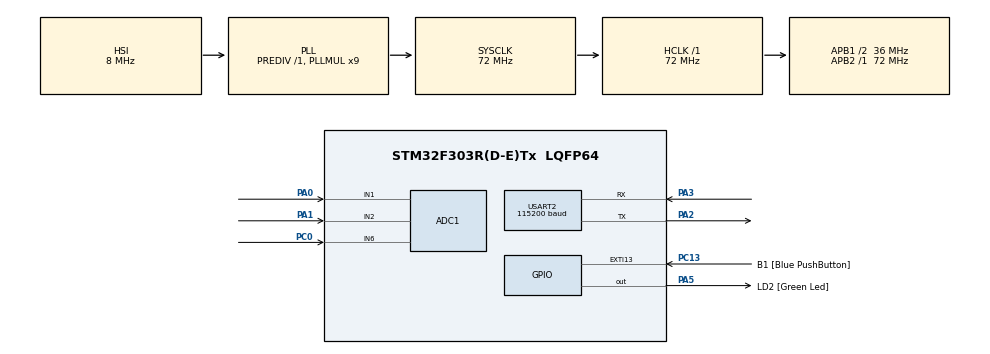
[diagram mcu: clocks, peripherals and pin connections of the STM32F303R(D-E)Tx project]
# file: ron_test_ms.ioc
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ADC1.Channel-0\#ChannelRegularConversion=ADC_CHANNEL_1
ADC1.Channel-1\#ChannelRegularConversion=ADC_CHANNEL_2
ADC1.Channel-3\#ChannelRegularConversion=ADC_CHANNEL_6
ADC1.ClockPrescaler=ADC_CLOCK_SYNC_PCLK_DIV4
ADC1.ContinuousConvMode=ENABLE
ADC1.DMAContinuousRequests=ENABLE
ADC1.NbrOfConversion=3
ADC1.NbrOfConversionFlag=1
ADC1.Offset-0\#ChannelRegularConversion=0
ADC1.Offset-1\#ChannelRegularConversion=0
ADC1.Offset-3\#ChannelRegularConversion=0
ADC1.OffsetNumber-0\#ChannelRegularConversion=ADC_OFFSET_NONE
ADC1.OffsetNumber-1\#ChannelRegularConversion=ADC_OFFSET_NONE
ADC1.OffsetNumber-3\#ChannelRegularConversion=ADC_OFFSET_NONE
ADC1.Rank-0\#ChannelRegularConversion=1
ADC1.Rank-1\#ChannelRegularConversion=2
ADC1.Rank-3\#ChannelRegularConversion=3
ADC1.SamplingTime-0\#ChannelRegularConversion=ADC_SAMPLETIME_7CYCLES_5
ADC1.SamplingTime-1\#ChannelRegularConversion=ADC_SAMPLETIME_7CYCLES_5
ADC1.SamplingTime-3\#ChannelRegularConversion=ADC_SAMPLETIME_7CYCLES_5
ADC1.SamplingTimeOPAMP-3\#ChannelRegularConversion=ADC_SAMPLETIME_61CYCLES_5
ADC1.master=1
Dma.ADC1.0.Direction=DMA_PERIPH_TO_MEMORY
Dma.ADC1.0.Instance=DMA1_Channel1
Dma.ADC1.0.MemDataAlignment=DMA_MDATAALIGN_WORD
Dma.ADC1.0.MemInc=DMA_MINC_ENABLE
Dma.ADC1.0.Mode=DMA_CIRCULAR
Dma.ADC1.0.PeriphDataAlignment=DMA_PDATAALIGN_WORD
Dma.ADC1.0.PeriphInc=DMA_PINC_DISABLE
Dma.ADC1.0.Priority=DMA_PRIORITY_LOW
Dma.Request0=ADC1
Mcu.Family=STM32F3
Mcu.Name=STM32F303R(D-E)Tx
Mcu.Package=LQFP64
NVIC.ADC1_2_IRQn=true\:0\:0\:false\:false\:true\:true\:true\:true
NVIC.DMA1_Channel1_IRQn=true\:0\:0\:false\:false\:true\:false\:true\:true
NVIC.EXTI15_10_IRQn=true\:0\:0\:false\:false\:true\:true\:true\:true
NVIC.PriorityGroup=NVIC_PRIORITYGROUP_0
NVIC.TIM6_DAC_IRQn=true\:0\:0\:false\:false\:true\:true\:true\:true
PA0.Mode=IN1-Single-Ended
PA0.Signal=ADC1_IN1
PA1.Mode=IN2-Single-Ended
PA1.Signal=ADC1_IN2
PA13.GPIO_Label=TMS
PA13.Mode=Serial_Wire
PA13.Signal=SYS_JTMS-SWDIO
PA14.GPIO_Label=TCK
PA14.Mode=Serial_Wire
PA14.Signal=SYS_JTCK-SWCLK
PA2.Mode=Asynchronous
PA2.Signal=USART2_TX
PA3.Mode=Asynchronous
PA3.Signal=USART2_RX
PA5.GPIO_Label=LD2 [Green Led]
PA5.GPIO_Mode=GPIO_MODE_OUTPUT_PP
PA5.GPIO_PuPd=GPIO_NOPULL
PA5.GPIO_Speed=GPIO_SPEED_FREQ_LOW
PA5.Signal=GPIO_Output
PB3.GPIO_Label=SWO
PB3.Signal=SYS_JTDO-TRACESWO
PC0.Signal=ADCx_IN6
PC13.GPIO_Label=B1 [Blue PushButton]
PC13.GPIO_ModeDefaultEXTI=GPIO_MODE_IT_FALLING
PC13.Signal=GPXTI13
PC14-OSC32_IN.Mode=LSE-External-Oscillator
PC14-OSC32_IN.Signal=RCC_OSC32_IN
PC15-OSC32_OUT.Mode=LSE-External-Oscillator
PC15-OSC32_OUT.Signal=RCC_OSC32_OUT
PF0-OSC_IN.Mode=HSE-External-Clock-Source
PF0-OSC_IN.Signal=RCC_OSC_IN
PF1-OSC_OUT.Signal=RCC_OSC_OUT
ProjectManager.HeapSize=0x200
ProjectManager.StackSize=0x400
ProjectManager.TargetToolchain=STM32CubeIDE
RCC.AHBFreq_Value=72000000
RCC.APB1CLKDivider=RCC_HCLK_DIV2
RCC.APB1Freq_Value=36000000
RCC.APB1TimFreq_Value=72000000
RCC.APB2Freq_Value=72000000
RCC.APB2TimFreq_Value=72000000
RCC.CortexFreq_Value=72000000
RCC.HCLKFreq_Value=72000000
RCC.HSE_VALUE=8000000
RCC.HSI_VALUE=8000000
RCC.PLLM=8
RCC.PLLMUL=RCC_PLL_MUL9
RCC.PLLN=336
RCC.PLLP=RCC_PLLP_DIV4
RCC.PLLQ=7
RCC.RCC_PLLsource_Clock_Source_FROM_HSE=RCC_HSE_PREDIV_DIV2
RCC.SYSCLKFreq_VALUE=72000000
RCC.SYSCLKSourceVirtual=RCC_SYSCLKSOURCE_PLLCLK
RCC.USBFreq_Value=72000000
SH.ADCx_IN6.0=ADC1_IN6,IN6-Single-Ended
TIM6.Period=99
TIM6.Prescaler=35999
USART2.BaudRate=115200
USART2.VirtualMode-Asynchronous=VM_ASYNC
VP_TIM6_VS_ClockSourceINT.Mode=Enable_Timer
board=NUCLEO-F303RE

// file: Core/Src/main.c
/* USER CODE BEGIN Header */
/**
  ******************************************************************************
  * @file           : main.c
  * @brief          : Ron Neter Programming Task - ADC + DMA Solution
  ******************************************************************************
  * @attention
  *
  * Copyright (c) 2025 STMicroelectronics.
  * All rights reserved.
  *
  * This software is licensed under terms that can be found in the LICENSE file
  * in the root directory of this software component.
  * If no LICENSE file comes with this software, it is provided AS-IS.
  *
  ******************************************************************************
  */
/* USER CODE END Header */
#include "main.h"
#include <stdio.h>
#include <string.h>

ADC_HandleTypeDef hadc1;
DMA_HandleTypeDef hdma_adc1;

TIM_HandleTypeDef htim6;

UART_HandleTypeDef huart2;

/* USER CODE BEGIN PV */
// ADC buffer to store values from 3 channels
#define ADC_CHANNEL_COUNT 3
#define ADC_BUFFER_SIZE (ADC_CHANNEL_COUNT)
volatile uint32_t adc_buffer[ADC_BUFFER_SIZE];

// System variables
volatile uint32_t system_timestamp = 0;
volatile uint8_t send_data_flag = 0;
volatile uint8_t button_pressed = 0;
char uart_tx_buffer[100];
/* USER CODE END PV */

void SystemClock_Config(void);
static void MX_GPIO_Init(void);
static void MX_DMA_Init(void);
static void MX_ADC1_Init(void);
static void MX_TIM6_Init(void);
static void MX_USART2_UART_Init(void);
/* USER CODE BEGIN PFP */
void sendSensorData(void);
void printDebug(const char* message);
void ConfigureADCWithDMA_F3(void);
void printTitle(void);
/* USER CODE END PFP */

/* USER CODE BEGIN 0 */
/**
  * @brief  Print a title message for Ron Neter's Programming Task
  * @retval None
  */
void printTitle(void)
{
  const char* title =
    "\r\n"
    "***********************************************\r\n"
    "*                                             *\r\n"
    "*       Ron Neter - Programming Task          *\r\n"
    "*        ADC + DMA Sampling System            *\r\n"
    "*                                             *\r\n"
    "***********************************************\r\n"
    "\r\n";

  HAL_UART_Transmit(&huart2, (uint8_t*)title, strlen(title), 200);
}

/**
  * @brief  Configure ADC with DMA specific to STM32F3 series
  * @retval None
  */
void ConfigureADCWithDMA_F3(void)
{
  // Clear ADC configuration
  ADC1->CR &= ~(ADC_CR_ADEN);  // Disable ADC
  while(ADC1->CR & ADC_CR_ADEN); // Wait until ADC is disabled

  // Configure DMA channel
  DMA1_Channel1->CCR &= ~DMA_CCR_EN;  // Disable DMA channel
  DMA1_Channel1->CPAR = (uint32_t)&(ADC1->DR);  // Peripheral address
  DMA1_Channel1->CMAR = (uint32_t)adc_buffer;   // Memory address
  DMA1_Channel1->CNDTR = 3;  // 3 data items to transfer
  DMA1_Channel1->CCR = DMA_CCR_MINC |  // Memory increment
                      DMA_CCR_PSIZE_1 | // Peripheral size 32 bits
                      DMA_CCR_MSIZE_1 | // Memory size 32 bits
                      DMA_CCR_CIRC |    // Circular mode
                      DMA_CCR_TCIE;     // Transfer complete interrupt

  // Enable DMA
  DMA1_Channel1->CCR |= DMA_CCR_EN;

  // Configure ADC for DMA
  ADC1->CFGR |= ADC_CFGR_DMAEN | ADC_CFGR_DMACFG;  // Enable DMA circular mode

  // Start ADC
  ADC1->CR |= ADC_CR_ADEN;  // Enable ADC
  while(!(ADC1->ISR & ADC_ISR_ADRDY)); // Wait for ADC ready
  ADC1->CR |= ADC_CR_ADSTART;  // Start conversion
}

/**
  * @brief Send debug message over UART
  */
void printDebug(const char* message) {
  char debug_buffer[100];
  sprintf(debug_buffer, "DEBUG: %s\r\n", message);
  HAL_UART_Transmit(&huart2, (uint8_t*)debug_buffer, strlen(debug_buffer), 100);
}

/**
  * @brief  Send sensor data over UART.
  * @retval None
  */
void sendSensorData(void)
{
  // Format data with timestamp and all three ADC channel values
  sprintf(uart_tx_buffer, "Time: %lu ms, CH1: %lu, CH2: %lu, CH3: %lu\r\n",
          system_timestamp, adc_buffer[0], adc_buffer[1], adc_buffer[2]);

  // Transmit data via UART
  HAL_UART_Transmit(&huart2, (uint8_t*)uart_tx_buffer, strlen(uart_tx_buffer), 100);
}

/**
  * @brief  Timer period elapsed callback.
  * @param  htim: TIM handle
  * @retval None
  */
void HAL_TIM_PeriodElapsedCallback(TIM_HandleTypeDef *htim)
{
  if (htim->Instance == TIM6) {
    // Increment system timestamp (100ms increment)
    system_timestamp += 100;

    // Set flag to send data
    send_data_flag = 1;

    // Check if button was pressed and handle it
    if (button_pressed) {
      button_pressed = 0;
      system_timestamp = 0;  // Reset timestamp
    }
  }
}

/**
  * @brief  GPIO EXTI callback.
  * @param  GPIO_Pin: Pin connected to EXTI line
  * @retval None
  */
void HAL_GPIO_EXTI_Callback(uint16_t GPIO_Pin)
{
  if (GPIO_Pin == B1_Pin) {
    button_pressed = 1;  // Set flag to indicate button press
  }
}

/* USER CODE END 0 */

int main(void)
{

  /* MCU Configuration--------------------------------------------------------*/

  /* Reset of all peripherals, Initializes the Flash interface and the Systick. */
  HAL_Init();

  /* Configure the system clock */
  SystemClock_Config();

  /* Initialize all configured peripherals */
  MX_GPIO_Init();

  /* Visual debug indicator - double blink to show we've started */
  HAL_GPIO_WritePin(LD2_GPIO_Port, LD2_Pin, GPIO_PIN_SET);
  HAL_Delay(200);
  HAL_GPIO_WritePin(LD2_GPIO_Port, LD2_Pin, GPIO_PIN_RESET);
  HAL_Delay(200);
  HAL_GPIO_WritePin(LD2_GPIO_Port, LD2_Pin, GPIO_PIN_SET);
  HAL_Delay(200);
  HAL_GPIO_WritePin(LD2_GPIO_Port, LD2_Pin, GPIO_PIN_RESET);

  /* Initialize UART */
  MX_USART2_UART_Init();
  /* Print title */
  printTitle();
  /* Send initial debug message */
  printDebug("System starting...");
  /* Initialize Timer */
  MX_TIM6_Init();
  /* Initialize DMA before ADC */
  MX_DMA_Init();
  /* Critical: Enable ADC12 clock - essential for F3 series */
  __HAL_RCC_ADC12_CLK_ENABLE();
  /* Initialize ADC with HAL */
  MX_ADC1_Init();
  /* Manual linking of DMA to ADC */
  __HAL_LINKDMA(&hadc1, DMA_Handle, hdma_adc1);
  /* Properly calibrate ADC */
  HAL_ADCEx_Calibration_Start(&hadc1, ADC_SINGLE_ENDED);
  /* Configure ADC with DMA using direct register access for F3 series */
  ConfigureADCWithDMA_F3();
  /* Start Timer with interrupt for periodic data transmission */
  HAL_TIM_Base_Start_IT(&htim6);

  /* Initial data transmission with default values */
  adc_buffer[0] = 0;
  adc_buffer[1] = 0;
  adc_buffer[2] = 0;
  sendSensorData();

  printDebug("Entering main loop...");

  /* Infinite loop */
  uint32_t last_led_toggle = 0;

  while (1)
  {
    // Check if it's time to send data (every 100ms)
    if (send_data_flag) {
      send_data_flag = 0;
      sendSensorData();
    }

    uint32_t current_time = HAL_GetTick();
    // Toggle LED every 500ms for user indication that the system is alive
    if (current_time - last_led_toggle >= 500) {
      HAL_GPIO_TogglePin(LD2_GPIO_Port, LD2_Pin);
      last_led_toggle = current_time;
    }
  }
}

void SystemClock_Config(void)
{
  RCC_OscInitTypeDef RCC_OscInitStruct = {0};
  RCC_ClkInitTypeDef RCC_ClkInitStruct = {0};
  RCC_PeriphCLKInitTypeDef PeriphClkInit = {0};

  /** Initializes the RCC Oscillators according to the specified parameters
  * in the RCC_OscInitTypeDef structure.
  */
  RCC_OscInitStruct.OscillatorType = RCC_OSCILLATORTYPE_HSI;
  RCC_OscInitStruct.HSIState = RCC_HSI_ON;
  RCC_OscInitStruct.HSICalibrationValue = RCC_HSICALIBRATION_DEFAULT;
  RCC_OscInitStruct.PLL.PLLState = RCC_PLL_ON;
  RCC_OscInitStruct.PLL.PLLSource = RCC_PLLSOURCE_HSI;
  RCC_OscInitStruct.PLL.PLLMUL = RCC_PLL_MUL9;
  RCC_OscInitStruct.PLL.PREDIV = RCC_PREDIV_DIV1;
  if (HAL_RCC_OscConfig(&RCC_OscInitStruct) != HAL_OK)
  {
    Error_Handler();
  }

  /** Initializes the CPU, AHB and APB buses clocks
  */
  RCC_ClkInitStruct.ClockType = RCC_CLOCKTYPE_HCLK|RCC_CLOCKTYPE_SYSCLK
                              |RCC_CLOCKTYPE_PCLK1|RCC_CLOCKTYPE_PCLK2;
  RCC_ClkInitStruct.SYSCLKSource = RCC_SYSCLKSOURCE_PLLCLK;
  RCC_ClkInitStruct.AHBCLKDivider = RCC_SYSCLK_DIV1;
  RCC_ClkInitStruct.APB1CLKDivider = RCC_HCLK_DIV2;
  RCC_ClkInitStruct.APB2CLKDivider = RCC_HCLK_DIV1;

  if (HAL_RCC_ClockConfig(&RCC_ClkInitStruct, FLASH_LATENCY_2) != HAL_OK)
  {
    Error_Handler();
  }
  PeriphClkInit.PeriphClockSelection = RCC_PERIPHCLK_USART2;
  PeriphClkInit.Usart2ClockSelection = RCC_USART2CLKSOURCE_PCLK1;
  if (HAL_RCCEx_PeriphCLKConfig(&PeriphClkInit) != HAL_OK)
  {
    Error_Handler();
  }
}

static void MX_ADC1_Init(void)
{

  ADC_MultiModeTypeDef multimode = {0};
  ADC_ChannelConfTypeDef sConfig = {0};

  /** Common config
  */
  hadc1.Instance = ADC1;
  hadc1.Init.ClockPrescaler = ADC_CLOCK_SYNC_PCLK_DIV4;
  hadc1.Init.Resolution = ADC_RESOLUTION_12B;
  hadc1.Init.ScanConvMode = ADC_SCAN_ENABLE;
  hadc1.Init.ContinuousConvMode = ENABLE;
  hadc1.Init.DiscontinuousConvMode = DISABLE;
  hadc1.Init.ExternalTrigConvEdge = ADC_EXTERNALTRIGCONVEDGE_NONE;
  hadc1.Init.ExternalTrigConv = ADC_SOFTWARE_START;
  hadc1.Init.DataAlign = ADC_DATAALIGN_RIGHT;
  hadc1.Init.NbrOfConversion = 3;
  hadc1.Init.DMAContinuousRequests = ENABLE;
  hadc1.Init.EOCSelection = ADC_EOC_SINGLE_CONV;
  hadc1.Init.LowPowerAutoWait = DISABLE;
  hadc1.Init.Overrun = ADC_OVR_DATA_OVERWRITTEN;
  if (HAL_ADC_Init(&hadc1) != HAL_OK)
  {
    Error_Handler();
  }

  /** Configure the ADC multi-mode
  */
  multimode.Mode = ADC_MODE_INDEPENDENT;
  if (HAL_ADCEx_MultiModeConfigChannel(&hadc1, &multimode) != HAL_OK)
  {
    Error_Handler();
  }

  /** Configure Regular Channel
  */
  sConfig.Channel = ADC_CHANNEL_1;
  sConfig.Rank = ADC_REGULAR_RANK_1;
  sConfig.SingleDiff = ADC_SINGLE_ENDED;
  sConfig.SamplingTime = ADC_SAMPLETIME_7CYCLES_5;
  sConfig.OffsetNumber = ADC_OFFSET_NONE;
  sConfig.Offset = 0;
  if (HAL_ADC_ConfigChannel(&hadc1, &sConfig) != HAL_OK)
  {
    Error_Handler();
  }

  /** Configure Regular Channel
  */
  sConfig.Channel = ADC_CHANNEL_2;
  sConfig.Rank = ADC_REGULAR_RANK_2;
  if (HAL_ADC_ConfigChannel(&hadc1, &sConfig) != HAL_OK)
  {
    Error_Handler();
  }

  /** Configure Regular Channel
  */
  sConfig.Channel = ADC_CHANNEL_6;
  sConfig.Rank = ADC_REGULAR_RANK_3;
  if (HAL_ADC_ConfigChannel(&hadc1, &sConfig) != HAL_OK)
  {
    Error_Handler();
  }

}

static void MX_TIM6_Init(void)
{

  TIM_MasterConfigTypeDef sMasterConfig = {0};

  htim6.Instance = TIM6;
  htim6.Init.Prescaler = 35999;
  htim6.Init.CounterMode = TIM_COUNTERMODE_UP;
  htim6.Init.Period = 99;
  htim6.Init.AutoReloadPreload = TIM_AUTORELOAD_PRELOAD_DISABLE;
  if (HAL_TIM_Base_Init(&htim6) != HAL_OK)
  {
    Error_Handler();
  }
  sMasterConfig.MasterOutputTrigger = TIM_TRGO_RESET;
  sMasterConfig.MasterSlaveMode = TIM_MASTERSLAVEMODE_DISABLE;
  if (HAL_TIMEx_MasterConfigSynchronization(&htim6, &sMasterConfig) != HAL_OK)
  {
    Error_Handler();
  }

}

static void MX_USART2_UART_Init(void)
{

  huart2.Instance = USART2;
  huart2.Init.BaudRate = 115200;
  huart2.Init.WordLength = UART_WORDLENGTH_8B;
  huart2.Init.StopBits = UART_STOPBITS_1;
  huart2.Init.Parity = UART_PARITY_NONE;
  huart2.Init.Mode = UART_MODE_TX_RX;
  huart2.Init.HwFlowCtl = UART_HWCONTROL_NONE;
  huart2.Init.OverSampling = UART_OVERSAMPLING_16;
  huart2.Init.OneBitSampling = UART_ONE_BIT_SAMPLE_DISABLE;
  huart2.AdvancedInit.AdvFeatureInit = UART_ADVFEATURE_NO_INIT;
  if (HAL_UART_Init(&huart2) != HAL_OK)
  {
    Error_Handler();
  }

}

static void MX_DMA_Init(void)
{

  /* DMA controller clock enable */
  __HAL_RCC_DMA1_CLK_ENABLE();

  /* DMA interrupt init */
  /* DMA1_Channel1_IRQn interrupt configuration */
  HAL_NVIC_SetPriority(DMA1_Channel1_IRQn, 0, 0);
  HAL_NVIC_EnableIRQ(DMA1_Channel1_IRQn);

}

static void MX_GPIO_Init(void)
{
  GPIO_InitTypeDef GPIO_InitStruct = {0};

  /* GPIO Ports Clock Enable */
  __HAL_RCC_GPIOC_CLK_ENABLE();
  __HAL_RCC_GPIOF_CLK_ENABLE();
  __HAL_RCC_GPIOA_CLK_ENABLE();
  __HAL_RCC_GPIOB_CLK_ENABLE();

  /*Configure GPIO pin Output Level */
  HAL_GPIO_WritePin(LD2_GPIO_Port, LD2_Pin, GPIO_PIN_RESET);

  /*Configure GPIO pin : B1_Pin */
  GPIO_InitStruct.Pin = B1_Pin;
  GPIO_InitStruct.Mode = GPIO_MODE_IT_FALLING;
  GPIO_InitStruct.Pull = GPIO_NOPULL;
  HAL_GPIO_Init(B1_GPIO_Port, &GPIO_InitStruct);

  /*Configure GPIO pin : LD2_Pin */
  GPIO_InitStruct.Pin = LD2_Pin;
  GPIO_InitStruct.Mode = GPIO_MODE_OUTPUT_PP;
  GPIO_InitStruct.Pull = GPIO_NOPULL;
  GPIO_InitStruct.Speed = GPIO_SPEED_FREQ_LOW;
  HAL_GPIO_Init(LD2_GPIO_Port, &GPIO_InitStruct);

  /* EXTI interrupt init*/
  HAL_NVIC_SetPriority(EXTI15_10_IRQn, 0, 0);
  HAL_NVIC_EnableIRQ(EXTI15_10_IRQn);

}

void Error_Handler(void)
{
  /* USER CODE BEGIN Error_Handler_Debug */
/* User can add his own implementation to report the HAL error return state */
__disable_irq();

// Optional: Send error message via UART
char error_msg[] = "System Error. Halting.\r\n";
HAL_UART_Transmit(&huart2, (uint8_t*)error_msg, strlen(error_msg), 100);

// Blink LED to indicate error
while (1)
{
  HAL_GPIO_TogglePin(LD2_GPIO_Port, LD2_Pin);
  HAL_Delay(200);
}
  /* USER CODE END Error_Handler_Debug */
}
